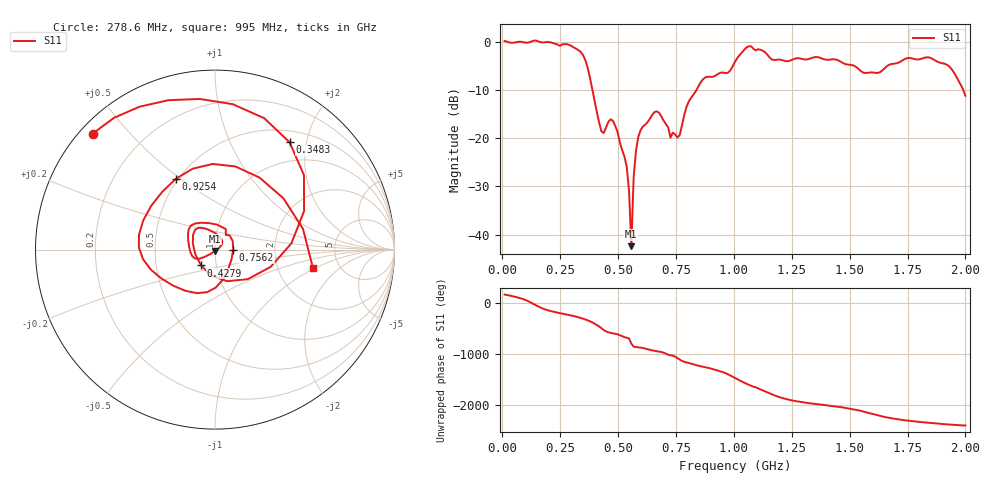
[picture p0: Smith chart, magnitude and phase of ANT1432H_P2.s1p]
!Created with skrf (http://scikit-rf.org).
# Hz S RI R 50.0
!freq ReS11 ImS11
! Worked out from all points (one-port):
!   201 points, 10 MHz to 2 GHz, reference 50 ohm
!   lowest |S11| = -42.4 dB at 557.2 MHz (marker M1), VSWR 1.02, Z = 50.2 - j0.744 ohm
!   |S11| at or under -10 dB: 389.1 MHz to 838.7 MHz (449.6 MHz wide, 73.2 % of centre); 1.990433 GHz to end of sweep
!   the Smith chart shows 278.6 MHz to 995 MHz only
!   S11 on the Smith chart (normalised r, x): 278.6 MHz: 0.04, +0.40; 348.3 MHz: 0.67, +1.71; 427.9 MHz: 0.84, -0.15; 756.2 MHz: 1.23, -0.00; 925.4 MHz: 0.49, +0.48; 995 MHz: 3.19, -0.95
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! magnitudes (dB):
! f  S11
! 10 MHz  0.1
! 258.8 MHz  -0.6
! 278.6 MHz  -0.5
! 348.3 MHz  -2.8
! 427.9 MHz  -18.6
! 467.7 MHz  -16.1
! 507.5 MHz  -20.8
! 537.4 MHz  -25.9
! 547.3 MHz  -30.8
! 557.2 MHz  -42.4
! 567.2 MHz  -28.2
! 577.1 MHz  -22.7
! 597 MHz  -18.4
! 666.7 MHz  -14.4
! 726.4 MHz  -19.9
! 756.2 MHz  -19.9
! 796 MHz  -13.5
! 855.8 MHz  -8.5
! 925.4 MHz  -6.9
! 995 MHz  -5.1
! 1.005 GHz  -4.2
! 1.075 GHz  -1.0
! 1.254 GHz  -3.7
! 1.502 GHz  -4.8
! 1.622 GHz  -6.5
! 1.751 GHz  -3.4
! 1.92 GHz  -4.8
! 2 GHz  -11.2
